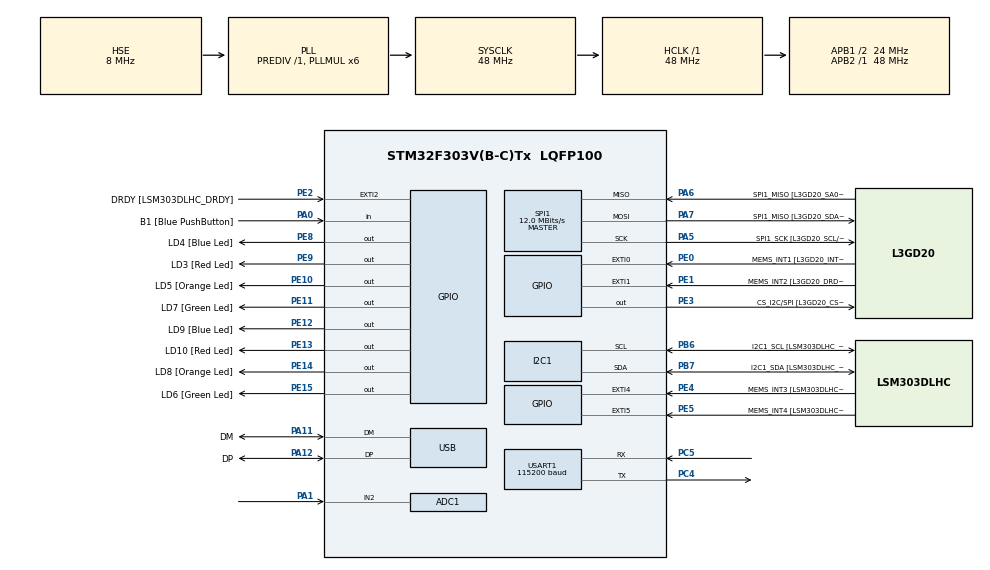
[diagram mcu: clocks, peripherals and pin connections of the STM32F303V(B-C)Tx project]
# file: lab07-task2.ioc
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ADC1.Channel-0\#ChannelRegularConversion=ADC_CHANNEL_2
ADC1.ContinuousConvMode=ENABLE
ADC1.NbrOfConversionFlag=1
ADC1.Offset-0\#ChannelRegularConversion=0
ADC1.OffsetNumber-0\#ChannelRegularConversion=ADC_OFFSET_NONE
ADC1.Rank-0\#ChannelRegularConversion=1
ADC1.SamplingTime-0\#ChannelRegularConversion=ADC_SAMPLETIME_61CYCLES_5
ADC1.SamplingTimeOPAMP-0\#ChannelRegularConversion=ADC_SAMPLETIME_19CYCLES_5
ADC1.master=1
I2C1.Timing=0x2000090E
I2C1.Timing-I2C=0x2000090E
Mcu.Family=STM32F3
Mcu.Name=STM32F303V(B-C)Tx
Mcu.Package=LQFP100
NVIC.ADC1_2_IRQn=true\:0\:0\:false\:false\:true\:true\:true\:true
NVIC.PriorityGroup=NVIC_PRIORITYGROUP_0
PA0.GPIO_Label=B1 [Blue PushButton]
PA0.Signal=GPIO_Input
PA1.Mode=IN2-Single-Ended
PA1.Signal=ADC1_IN2
PA11.GPIO_Label=DM
PA11.Mode=Device
PA11.Signal=USB_DM
PA12.GPIO_Label=DP
PA12.Mode=Device
PA12.Signal=USB_DP
PA13.GPIO_Label=SWDIO
PA13.Mode=Serial_Wire
PA13.Signal=SYS_JTMS-SWDIO
PA14.GPIO_Label=SWCLK
PA14.Mode=Serial_Wire
PA14.Signal=SYS_JTCK-SWCLK
PA5.GPIO_Label=SPI1_SCK [L3GD20_SCL/SPC]
PA5.Mode=Full_Duplex_Master
PA5.Signal=SPI1_SCK
PA6.GPIO_Label=SPI1_MISO [L3GD20_SA0/SDO]
PA6.Mode=Full_Duplex_Master
PA6.Signal=SPI1_MISO
PA7.GPIO_Label=SPI1_MISO [L3GD20_SDA/SDI/SDO]
PA7.Mode=Full_Duplex_Master
PA7.Signal=SPI1_MOSI
PB3.GPIO_Label=SWO
PB3.Signal=SYS_JTDO-TRACESWO
PB6.GPIO_Label=I2C1_SCL [LSM303DLHC_SCL]
PB6.GPIO_Pu=GPIO_PULLUP
PB6.Mode=I2C
PB6.Signal=I2C1_SCL
PB7.GPIO_Label=I2C1_SDA [LSM303DLHC_SDA]
PB7.GPIO_Pu=GPIO_PULLUP
PB7.Mode=I2C
PB7.Signal=I2C1_SDA
PC14-OSC32_IN.GPIO_Label=OSC32_IN
PC14-OSC32_IN.Signal=RCC_OSC32_IN
PC15-OSC32_OUT.GPIO_Label=OSC32_OUT
PC15-OSC32_OUT.Signal=RCC_OSC32_OUT
PC4.Mode=Asynchronous
PC4.Signal=USART1_TX
PC5.Mode=Asynchronous
PC5.Signal=USART1_RX
PE0.GPIO_Label=MEMS_INT1 [L3GD20_INT1]
PE0.GPIO_ModeDefaultEXTI=GPIO_MODE_EVT_RISING
PE0.Signal=GPXTI0
PE1.GPIO_Label=MEMS_INT2 [L3GD20_DRDY/INT2]
PE1.GPIO_ModeDefaultEXTI=GPIO_MODE_EVT_RISING
PE1.Signal=GPXTI1
PE10.GPIO_Label=LD5 [Orange Led]
PE10.Signal=GPIO_Output
PE11.GPIO_Label=LD7 [Green Led]
PE11.Signal=GPIO_Output
PE12.GPIO_Label=LD9 [Blue Led]
PE12.Signal=GPIO_Output
PE13.GPIO_Label=LD10 [Red Led]
PE13.Signal=GPIO_Output
PE14.GPIO_Label=LD8 [Orange Led]
PE14.Signal=GPIO_Output
PE15.GPIO_Label=LD6 [Green Led]
PE15.Signal=GPIO_Output
PE2.GPIO_Label=DRDY [LSM303DLHC_DRDY]
PE2.GPIO_ModeDefaultEXTI=GPIO_MODE_EVT_RISING
PE2.Signal=GPXTI2
PE3.GPIO_Label=CS_I2C/SPI [L3GD20_CS_I2C/SPI]
PE3.Signal=GPIO_Output
PE4.GPIO_Label=MEMS_INT3 [LSM303DLHC_INT1]
PE4.GPIO_ModeDefaultEXTI=GPIO_MODE_EVT_RISING
PE4.Signal=GPXTI4
PE5.GPIO_Label=MEMS_INT4 [LSM303DLHC_INT2]
PE5.GPIO_ModeDefaultEXTI=GPIO_MODE_EVT_RISING
PE5.Signal=GPXTI5
PE8.GPIO_Label=LD4 [Blue Led]
PE8.Signal=GPIO_Output
PE9.GPIO_Label=LD3 [Red Led]
PE9.Signal=GPIO_Output
PF0-OSC_IN.GPIO_Label=OSC_IN
PF0-OSC_IN.Mode=HSE-External-Clock-Source
PF0-OSC_IN.Signal=RCC_OSC_IN
PF1-OSC_OUT.GPIO_Label=OSC_OUT
PF1-OSC_OUT.Signal=RCC_OSC_OUT
ProjectManager.HeapSize=0x200
ProjectManager.StackSize=0x400
ProjectManager.TargetToolchain=CMake
RCC.AHBFreq_Value=48000000
RCC.APB1CLKDivider=RCC_HCLK_DIV2
RCC.APB1Freq_Value=24000000
RCC.APB1TimFreq_Value=48000000
RCC.APB2Freq_Value=48000000
RCC.APB2TimFreq_Value=48000000
RCC.CortexFreq_Value=48000000
RCC.HCLKFreq_Value=48000000
RCC.HSE_VALUE=8000000
RCC.HSI_VALUE=8000000
RCC.LSE_VALUE=32768
RCC.PLLMUL=RCC_PLL_MUL6
RCC.SYSCLKFreq_VALUE=48000000
RCC.SYSCLKSourceVirtual=RCC_SYSCLKSOURCE_PLLCLK
RCC.USBFreq_Value=48000000
SPI1.BaudRatePrescaler=SPI_BAUDRATEPRESCALER_4
SPI1.BaudRatePrescaler-Full_Duplex_Master=SPI_BAUDRATEPRESCALER_2
SPI1.CalculateBaudRate=12.0 MBits/s
SPI1.CalculateBaudRate-Full_Duplex_Master=24.0 MBits/s
SPI1.Direction=SPI_DIRECTION_2LINES
SPI1.Mode=SPI_MODE_MASTER
SPI1.Mode-Full_Duplex_Master=SPI_MODE_MASTER
SPI1.VirtualType=VM_MASTER
STMicroelectronics.X-CUBE-ALGOBUILD.1.5.0.LibraryCcDSPOoLibraryJjDSPOoLibrary=true
USART1.BaudRate=115200
USART1.VirtualMode-Asynchronous=VM_ASYNC
VP_STMicroelectronics.X-CUBE-ALGOBUILD_VS_DSPOoLibraryJjLibrary_1.5.0_1.5.0.Mode=DSPOoLibraryJjLibrary
board=STM32F3DISCOVERY

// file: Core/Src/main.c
/* USER CODE BEGIN Header */
/**
  ******************************************************************************
  * @file           : main.c
  * @brief          : Main program body
  ******************************************************************************
  * @attention
  *
  * Copyright (c) 2026 STMicroelectronics.
  * All rights reserved.
  *
  * This software is licensed under terms that can be found in the LICENSE file
  * in the root directory of this software component.
  * If no LICENSE file comes with this software, it is provided AS-IS.
  *
  ******************************************************************************
  */
/* USER CODE END Header */
#include "main.h"

/* USER CODE BEGIN Includes */
#include <stdio.h>
#include "arm_math.h"

/* USER CODE END Includes */

/* USER CODE BEGIN PD */
#define FILTER_LEN 5
/* USER CODE END PD */

ADC_HandleTypeDef hadc1;

I2C_HandleTypeDef hi2c1;

SPI_HandleTypeDef hspi1;

UART_HandleTypeDef huart1;

PCD_HandleTypeDef hpcd_USB_FS;

/* USER CODE BEGIN PV */
uint32_t adcValue;

float32_t inputBuffer[FILTER_LEN] = {0};
float32_t filteredValue = 0;

uint8_t sampleIndex = 0;

/* USER CODE END PV */

void SystemClock_Config(void);
static void MX_GPIO_Init(void);
static void MX_I2C1_Init(void);
static void MX_SPI1_Init(void);
static void MX_USB_PCD_Init(void);
static void MX_ADC1_Init(void);
static void MX_USART1_UART_Init(void);

/* USER CODE BEGIN 0 */
int _write(int file, char *ptr, int len)
{
  HAL_UART_Transmit(&huart1, (uint8_t*)ptr,len, HAL_MAX_DELAY);
  return len;
}

void apply_moving_average(float32_t new_sample)
{
    inputBuffer[sampleIndex] = new_sample;

    sampleIndex = (sampleIndex + 1) % FILTER_LEN;

    arm_mean_f32(inputBuffer, FILTER_LEN, &filteredValue);
}
/* USER CODE END 0 */

int main(void)
{

  /* MCU Configuration--------------------------------------------------------*/

  /* Reset of all peripherals, Initializes the Flash interface and the Systick. */
  HAL_Init();

  /* Configure the system clock */
  SystemClock_Config();

  /* Initialize all configured peripherals */
  MX_GPIO_Init();
  MX_I2C1_Init();
  MX_SPI1_Init();
  MX_USB_PCD_Init();
  MX_ADC1_Init();
  MX_USART1_UART_Init();

  /* USER CODE BEGIN 2 */
  HAL_ADCEx_Calibration_Start(&hadc1, ADC_SINGLE_ENDED);
  HAL_ADC_Start(&hadc1);

  /* USER CODE END 2 */

  /* Infinite loop */
  while (1)
  {

    /* USER CODE BEGIN 3 */
    if (HAL_ADC_PollForConversion(&hadc1, 10) == HAL_OK)
{
    adcValue = HAL_ADC_GetValue(&hadc1);

    float32_t voltage = adcValue * 3.3f / 4095.0f;

    apply_moving_average(voltage);

    uint32_t raw_mV = (uint32_t)(voltage * 1000.0f);
    uint32_t filtered_mV = (uint32_t)(filteredValue * 1000.0f);

    printf("%lu,%lu\r\n",(unsigned long)raw_mV,(unsigned long)filtered_mV);
}

  }
  /* USER CODE END 3 */
}

void SystemClock_Config(void)
{
  RCC_OscInitTypeDef RCC_OscInitStruct = {0};
  RCC_ClkInitTypeDef RCC_ClkInitStruct = {0};
  RCC_PeriphCLKInitTypeDef PeriphClkInit = {0};

  /** Initializes the RCC Oscillators according to the specified parameters
  * in the RCC_OscInitTypeDef structure.
  */
  RCC_OscInitStruct.OscillatorType = RCC_OSCILLATORTYPE_HSI|RCC_OSCILLATORTYPE_HSE;
  RCC_OscInitStruct.HSEState = RCC_HSE_BYPASS;
  RCC_OscInitStruct.HSEPredivValue = RCC_HSE_PREDIV_DIV1;
  RCC_OscInitStruct.HSIState = RCC_HSI_ON;
  RCC_OscInitStruct.HSICalibrationValue = RCC_HSICALIBRATION_DEFAULT;
  RCC_OscInitStruct.PLL.PLLState = RCC_PLL_ON;
  RCC_OscInitStruct.PLL.PLLSource = RCC_PLLSOURCE_HSE;
  RCC_OscInitStruct.PLL.PLLMUL = RCC_PLL_MUL6;
  if (HAL_RCC_OscConfig(&RCC_OscInitStruct) != HAL_OK)
  {
    Error_Handler();
  }

  /** Initializes the CPU, AHB and APB buses clocks
  */
  RCC_ClkInitStruct.ClockType = RCC_CLOCKTYPE_HCLK|RCC_CLOCKTYPE_SYSCLK
                              |RCC_CLOCKTYPE_PCLK1|RCC_CLOCKTYPE_PCLK2;
  RCC_ClkInitStruct.SYSCLKSource = RCC_SYSCLKSOURCE_PLLCLK;
  RCC_ClkInitStruct.AHBCLKDivider = RCC_SYSCLK_DIV1;
  RCC_ClkInitStruct.APB1CLKDivider = RCC_HCLK_DIV2;
  RCC_ClkInitStruct.APB2CLKDivider = RCC_HCLK_DIV1;

  if (HAL_RCC_ClockConfig(&RCC_ClkInitStruct, FLASH_LATENCY_1) != HAL_OK)
  {
    Error_Handler();
  }
  PeriphClkInit.PeriphClockSelection = RCC_PERIPHCLK_USB|RCC_PERIPHCLK_USART1
                              |RCC_PERIPHCLK_I2C1|RCC_PERIPHCLK_ADC12;
  PeriphClkInit.Usart1ClockSelection = RCC_USART1CLKSOURCE_PCLK2;
  PeriphClkInit.Adc12ClockSelection = RCC_ADC12PLLCLK_DIV1;
  PeriphClkInit.I2c1ClockSelection = RCC_I2C1CLKSOURCE_HSI;
  PeriphClkInit.USBClockSelection = RCC_USBCLKSOURCE_PLL;
  if (HAL_RCCEx_PeriphCLKConfig(&PeriphClkInit) != HAL_OK)
  {
    Error_Handler();
  }
}

static void MX_ADC1_Init(void)
{

  ADC_MultiModeTypeDef multimode = {0};
  ADC_ChannelConfTypeDef sConfig = {0};

  /** Common config
  */
  hadc1.Instance = ADC1;
  hadc1.Init.ClockPrescaler = ADC_CLOCK_ASYNC_DIV1;
  hadc1.Init.Resolution = ADC_RESOLUTION_12B;
  hadc1.Init.ScanConvMode = ADC_SCAN_DISABLE;
  hadc1.Init.ContinuousConvMode = ENABLE;
  hadc1.Init.DiscontinuousConvMode = DISABLE;
  hadc1.Init.ExternalTrigConvEdge = ADC_EXTERNALTRIGCONVEDGE_NONE;
  hadc1.Init.ExternalTrigConv = ADC_SOFTWARE_START;
  hadc1.Init.DataAlign = ADC_DATAALIGN_RIGHT;
  hadc1.Init.NbrOfConversion = 1;
  hadc1.Init.DMAContinuousRequests = DISABLE;
  hadc1.Init.EOCSelection = ADC_EOC_SINGLE_CONV;
  hadc1.Init.LowPowerAutoWait = DISABLE;
  hadc1.Init.Overrun = ADC_OVR_DATA_OVERWRITTEN;
  if (HAL_ADC_Init(&hadc1) != HAL_OK)
  {
    Error_Handler();
  }

  /** Configure the ADC multi-mode
  */
  multimode.Mode = ADC_MODE_INDEPENDENT;
  if (HAL_ADCEx_MultiModeConfigChannel(&hadc1, &multimode) != HAL_OK)
  {
    Error_Handler();
  }

  /** Configure Regular Channel
  */
  sConfig.Channel = ADC_CHANNEL_2;
  sConfig.Rank = ADC_REGULAR_RANK_1;
  sConfig.SingleDiff = ADC_SINGLE_ENDED;
  sConfig.SamplingTime = ADC_SAMPLETIME_61CYCLES_5;
  sConfig.OffsetNumber = ADC_OFFSET_NONE;
  sConfig.Offset = 0;
  if (HAL_ADC_ConfigChannel(&hadc1, &sConfig) != HAL_OK)
  {
    Error_Handler();
  }

}

static void MX_I2C1_Init(void)
{

  hi2c1.Instance = I2C1;
  hi2c1.Init.Timing = 0x2000090E;
  hi2c1.Init.OwnAddress1 = 0;
  hi2c1.Init.AddressingMode = I2C_ADDRESSINGMODE_7BIT;
  hi2c1.Init.DualAddressMode = I2C_DUALADDRESS_DISABLE;
  hi2c1.Init.OwnAddress2 = 0;
  hi2c1.Init.OwnAddress2Masks = I2C_OA2_NOMASK;
  hi2c1.Init.GeneralCallMode = I2C_GENERALCALL_DISABLE;
  hi2c1.Init.NoStretchMode = I2C_NOSTRETCH_DISABLE;
  if (HAL_I2C_Init(&hi2c1) != HAL_OK)
  {
    Error_Handler();
  }

  /** Configure Analogue filter
  */
  if (HAL_I2CEx_ConfigAnalogFilter(&hi2c1, I2C_ANALOGFILTER_ENABLE) != HAL_OK)
  {
    Error_Handler();
  }

  /** Configure Digital filter
  */
  if (HAL_I2CEx_ConfigDigitalFilter(&hi2c1, 0) != HAL_OK)
  {
    Error_Handler();
  }

}

static void MX_SPI1_Init(void)
{

  /* SPI1 parameter configuration*/
  hspi1.Instance = SPI1;
  hspi1.Init.Mode = SPI_MODE_MASTER;
  hspi1.Init.Direction = SPI_DIRECTION_2LINES;
  hspi1.Init.DataSize = SPI_DATASIZE_4BIT;
  hspi1.Init.CLKPolarity = SPI_POLARITY_LOW;
  hspi1.Init.CLKPhase = SPI_PHASE_1EDGE;
  hspi1.Init.NSS = SPI_NSS_SOFT;
  hspi1.Init.BaudRatePrescaler = SPI_BAUDRATEPRESCALER_4;
  hspi1.Init.FirstBit = SPI_FIRSTBIT_MSB;
  hspi1.Init.TIMode = SPI_TIMODE_DISABLE;
  hspi1.Init.CRCCalculation = SPI_CRCCALCULATION_DISABLE;
  hspi1.Init.CRCPolynomial = 7;
  hspi1.Init.CRCLength = SPI_CRC_LENGTH_DATASIZE;
  hspi1.Init.NSSPMode = SPI_NSS_PULSE_ENABLE;
  if (HAL_SPI_Init(&hspi1) != HAL_OK)
  {
    Error_Handler();
  }

}

static void MX_USART1_UART_Init(void)
{

  huart1.Instance = USART1;
  huart1.Init.BaudRate = 115200;
  huart1.Init.WordLength = UART_WORDLENGTH_8B;
  huart1.Init.StopBits = UART_STOPBITS_1;
  huart1.Init.Parity = UART_PARITY_NONE;
  huart1.Init.Mode = UART_MODE_TX_RX;
  huart1.Init.HwFlowCtl = UART_HWCONTROL_NONE;
  huart1.Init.OverSampling = UART_OVERSAMPLING_16;
  huart1.Init.OneBitSampling = UART_ONE_BIT_SAMPLE_DISABLE;
  huart1.AdvancedInit.AdvFeatureInit = UART_ADVFEATURE_NO_INIT;
  if (HAL_UART_Init(&huart1) != HAL_OK)
  {
    Error_Handler();
  }

}

static void MX_USB_PCD_Init(void)
{

  hpcd_USB_FS.Instance = USB;
  hpcd_USB_FS.Init.dev_endpoints = 8;
  hpcd_USB_FS.Init.speed = PCD_SPEED_FULL;
  hpcd_USB_FS.Init.phy_itface = PCD_PHY_EMBEDDED;
  hpcd_USB_FS.Init.low_power_enable = DISABLE;
  hpcd_USB_FS.Init.battery_charging_enable = DISABLE;
  if (HAL_PCD_Init(&hpcd_USB_FS) != HAL_OK)
  {
    Error_Handler();
  }

}

static void MX_GPIO_Init(void)
{
  GPIO_InitTypeDef GPIO_InitStruct = {0};

  /* GPIO Ports Clock Enable */
  __HAL_RCC_GPIOE_CLK_ENABLE();
  __HAL_RCC_GPIOC_CLK_ENABLE();
  __HAL_RCC_GPIOF_CLK_ENABLE();
  __HAL_RCC_GPIOA_CLK_ENABLE();
  __HAL_RCC_GPIOB_CLK_ENABLE();

  /*Configure GPIO pin Output Level */
  HAL_GPIO_WritePin(GPIOE, CS_I2C_SPI_Pin|LD4_Pin|LD3_Pin|LD5_Pin
                          |LD7_Pin|LD9_Pin|LD10_Pin|LD8_Pin
                          |LD6_Pin, GPIO_PIN_RESET);

  /*Configure GPIO pins : DRDY_Pin MEMS_INT3_Pin MEMS_INT4_Pin MEMS_INT1_Pin
                           MEMS_INT2_Pin */
  GPIO_InitStruct.Pin = DRDY_Pin|MEMS_INT3_Pin|MEMS_INT4_Pin|MEMS_INT1_Pin
                          |MEMS_INT2_Pin;
  GPIO_InitStruct.Mode = GPIO_MODE_EVT_RISING;
  GPIO_InitStruct.Pull = GPIO_NOPULL;
  HAL_GPIO_Init(GPIOE, &GPIO_InitStruct);

  /*Configure GPIO pins : CS_I2C_SPI_Pin LD4_Pin LD3_Pin LD5_Pin
                           LD7_Pin LD9_Pin LD10_Pin LD8_Pin
                           LD6_Pin */
  GPIO_InitStruct.Pin = CS_I2C_SPI_Pin|LD4_Pin|LD3_Pin|LD5_Pin
                          |LD7_Pin|LD9_Pin|LD10_Pin|LD8_Pin
                          |LD6_Pin;
  GPIO_InitStruct.Mode = GPIO_MODE_OUTPUT_PP;
  GPIO_InitStruct.Pull = GPIO_NOPULL;
  GPIO_InitStruct.Speed = GPIO_SPEED_FREQ_LOW;
  HAL_GPIO_Init(GPIOE, &GPIO_InitStruct);

  /*Configure GPIO pin : B1_Pin */
  GPIO_InitStruct.Pin = B1_Pin;
  GPIO_InitStruct.Mode = GPIO_MODE_INPUT;
  GPIO_InitStruct.Pull = GPIO_NOPULL;
  HAL_GPIO_Init(B1_GPIO_Port, &GPIO_InitStruct);

}

void Error_Handler(void)
{
  __disable_irq();
  while (1)
  {
  }
}
